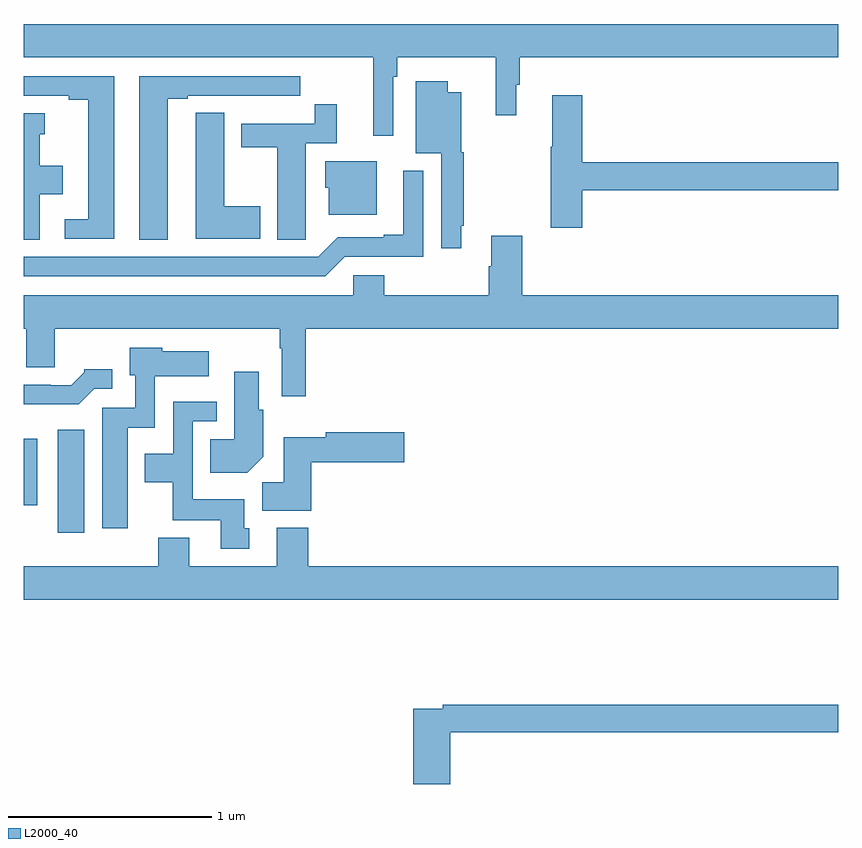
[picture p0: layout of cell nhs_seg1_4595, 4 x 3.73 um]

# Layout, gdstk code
import gdstk
lib = gdstk.Library(unit=1e-6, precision=1e-09)
def R(c, l, rs):  # rectangles x0, y0, x1, y1
    for r in rs: c.add(gdstk.rectangle(r[:2], r[2:], *l))
def P(c, l, *ps):  # polygons
    for p in ps: c.add(gdstk.Polygon(p, *l))
L2000_40 = (2000, 40)

nhs_seg1_4595 = lib.new_cell('nhs_seg1_4595')
R(nhs_seg1_4595, L2000_40, [(361.166,513.432,361.297,513.94), (361,513.569,361.066,513.895)])
P(nhs_seg1_4595, L2000_40, [(362.814,515.672),(362.834,515.672),(362.834,515.768),(363.319,515.768),(363.319,515.484),(363.418,515.484),(363.418,515.634),(363.437,515.634),(363.437,515.768),(365,515.768),(365,515.932),(361,515.932),(361,515.768),(362.717,515.768),(362.717,515.382),(362.814,515.382)],
  [(361.444,515.676),(361,515.676),(361,515.58),(361.22,515.58),(361.22,515.56),(361.316,515.56),(361.316,514.974),(361.2,514.974),(361.2,514.878),(361.444,514.878)],
  [(361.708,515.565),(361.804,515.565),(361.804,515.58),(362.08,515.58),(362.08,515.579),(362.246,515.579),(362.246,515.58),(362.359,515.58),(362.359,515.676),(361.568,515.676),(361.568,514.873),(361.708,514.873)],
  [(363.148,514.942),(363.16,514.942),(363.16,515.301),(363.148,515.301),(363.148,515.596),(363.082,515.596),(363.082,515.65),(362.924,515.65),(362.924,515.297),(363.051,515.297),(363.051,514.83),(363.148,514.83)],
  [(363.743,515.116),(365,515.116),(365,515.252),(363.743,515.252),(363.743,515.581),(363.596,515.581),(363.596,515.329),(363.589,515.329),(363.589,514.932),(363.743,514.932)],
  [(362.385,514.984),(362.386,514.984),(362.386,515.346),(362.537,515.346),(362.537,515.539),(362.428,515.539),(362.428,515.442),(362.069,515.442),(362.069,515.326),(362.246,515.326),(362.246,514.873),(362.385,514.873)],
  [(362.161,515.037),(361.984,515.037),(361.984,515.495),(361.845,515.495),(361.845,515.387),(361.844,515.387),(361.844,514.877),(362.161,514.877)],
  [(361.078,515.096),(361.192,515.096),(361.192,515.236),(361.078,515.236),(361.078,515.391),(361.102,515.391),(361.102,515.494),(361,515.494),(361,514.873),(361.078,514.873)],
  [(362.734,515.257),(362.48,515.257),(362.48,515.127),(362.498,515.127),(362.498,514.994),(362.734,514.994)],
  [(362.577,514.788),(362.961,514.788),(362.961,515.212),(362.864,515.212),(362.864,514.897),(362.768,514.897),(362.768,514.884),(362.541,514.884),(362.445,514.788),(361,514.788),(361,514.692),(362.481,514.692)],
  [(362.384,514.436),(365,514.436),(365,514.6),(363.449,514.6),(363.449,514.891),(363.296,514.891),(363.296,514.742),(363.284,514.742),(363.284,514.6),(362.771,514.6),(362.771,514.698),(362.619,514.698),(362.619,514.6),(361,514.6),(361,514.436),(361.013,514.436),(361.013,514.246),(361.153,514.246),(361.153,514.436),(362.256,514.436),(362.256,514.34),(362.268,514.34),(362.268,514.104),(362.384,514.104)],
  [(361.51,513.95),(361.644,513.95),(361.644,514.202),(361.909,514.202),(361.909,514.324),(361.68,514.324),(361.68,514.342),(361.52,514.342),(361.52,514.206),(361.548,514.206),(361.548,514.047),(361.385,514.047),(361.385,513.456),(361.51,513.456)],
  [(361.347,514.14),(361.435,514.14),(361.435,514.237),(361.296,514.237),(361.296,514.222),(361.232,514.158),(361.133,514.158),(361.133,514.161),(361,514.161),(361,514.064),(361.271,514.064)],
  [(362.176,513.806),(362.176,514.038),(362.155,514.038),(362.155,514.225),(362.033,514.225),(362.033,513.892),(361.915,513.892),(361.915,513.728),(362.098,513.728)],
  [(362.107,513.456),(362.083,513.456),(362.083,513.598),(361.83,513.598),(361.83,513.981),(361.948,513.981),(361.948,514.077),(361.734,514.077),(361.734,513.82),(361.595,513.82),(361.595,513.68),(361.732,513.68),(361.732,513.494),(361.967,513.494),(361.967,513.354),(362.107,513.354)],
  [(362.411,513.779),(362.869,513.779),(362.869,513.926),(362.484,513.926),(362.484,513.901),(362.276,513.901),(362.276,513.68),(362.171,513.68),(362.171,513.542),(362.411,513.542)],
  [(365,513.268),(362.396,513.268),(362.396,513.457),(362.243,513.457),(362.243,513.268),(361.813,513.268),(361.813,513.409),(361.661,513.409),(361.661,513.268),(361,513.268),(361,513.104),(365,513.104)],
  [(363.095,512.452),(365,512.452),(365,512.588),(363.058,512.588),(363.058,512.568),(362.912,512.568),(362.912,512.199),(363.095,512.199)])

lib.write_gds('nhs_seg1_4595.gds')
